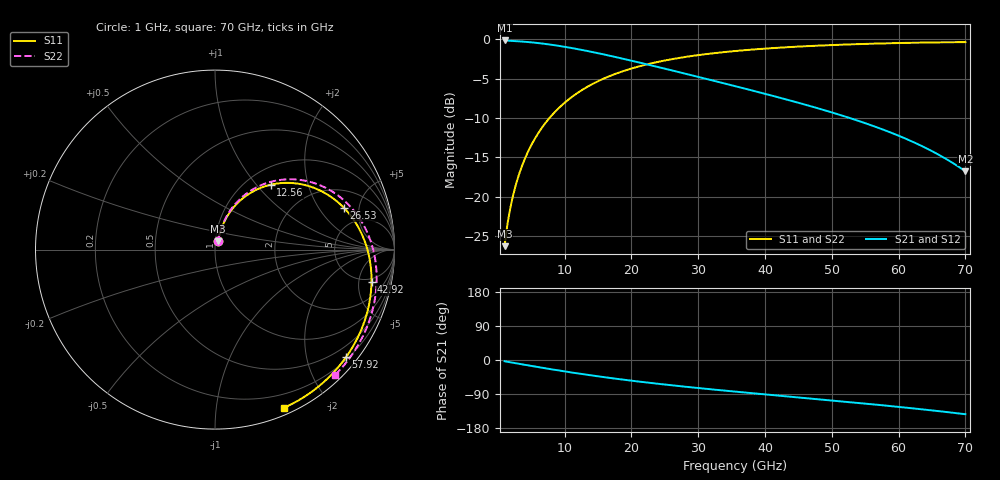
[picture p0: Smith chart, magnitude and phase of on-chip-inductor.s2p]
# GHz S RI R 50.0
! Port[1] = 1
! Port[2] = 2
!freq ReS11 ImS11 ReS21 ImS21 ReS12 ImS12 ReS22 ImS22
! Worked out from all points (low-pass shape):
!   401 points, 1 GHz to 70 GHz, reference 50 ohm
!   highest |S21| = -0.13 dB at 1 GHz (marker M1); lowest = -16.8 dB at 70 GHz (marker M2)
!   |S21| within 3 dB of the highest: start of sweep to 22.13 GHz
!   lowest |S11| = -26.3 dB at 1 GHz (marker M3), VSWR 1.10, Z = 51.4 + j4.72 ohm
!   |S11| at or under -10 dB: start of sweep to 7.701 GHz
!   |S22| runs from -26.3 to -0.3 dB; largest |S21 - S12| = 3.8e-14
!   S11 on the Smith chart (normalised r, x): 1 GHz: 1.03, +0.09; 12.56 GHz: 1.27, +1.19; 26.53 GHz: 3.23, +3.49; 42.92 GHz: 4.17, -7.35; 57.92 GHz: 0.25, -2.77; 70 GHz: 0.07, -1.53
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1  0.0163 0.0458  0.9837 -0.0576  0.9837 -0.0576  0.0161 0.0458
1.8625  0.0247 0.0816  0.9753 -0.1035  0.9753 -0.1035  0.0242 0.0816
2.725  0.0355 0.1157  0.9645 -0.1479  0.9645 -0.1479  0.0344 0.1159
3.76  0.0518 0.1549  0.9481 -0.1995  0.9481 -0.1995  0.0499 0.1554
4.9675  0.0759 0.1978  0.9239 -0.2569  0.9239 -0.2569  0.0727 0.199
6.52  0.114 0.2472  0.8855 -0.3252  0.8855 -0.3252  0.109 0.2495
8.245  0.1642 0.293  0.8347 -0.3924  0.8347 -0.3924  0.1568 0.2972
10.315  0.2319 0.3342  0.7659 -0.4597  0.7659 -0.4597  0.2213 0.3415
12.5575  0.31 0.3614  0.6858 -0.516  0.6858 -0.516  0.296 0.3732
15.145  0.4006 0.3719  0.5917 -0.5608  0.5917 -0.5608  0.3831 0.3903
17.905  0.4927 0.3617  0.4943 -0.5881  0.4943 -0.5881  0.4721 0.3886
24.115  0.6662 0.2794  0.3017 -0.5935  0.3017 -0.5935  0.6432 0.3298
26.53  0.7189 0.2323  0.2387 -0.5815  0.2387 -0.5815  0.6969 0.2929
31.015  0.7948 0.131  0.1386 -0.5468  0.1386 -0.5468  0.7778 0.2118
35.5  0.844 0.0182  0.0582 -0.5019  0.0582 -0.5019  0.8365 0.12
42.9175  0.8719 -0.182  -0.0394 -0.4166  -0.0394 -0.4166  0.8909 -0.045
47.0575  0.8599 -0.2974  -0.0779 -0.3659  -0.0779 -0.3659  0.9005 -0.1416
52.5775  0.8126 -0.4523  -0.1138 -0.2968  -0.1138 -0.2968  0.8912 -0.2739
57.925  0.7299 -0.5996  -0.1326 -0.2293  -0.1326 -0.2293  0.8568 -0.4051
58.615  0.7163 -0.6181  -0.1339 -0.2207  -0.1339 -0.2207  0.8504 -0.4222
64.135  0.5821 -0.7585  -0.1346 -0.1529  -0.1346 -0.1529  0.7812 -0.559
70  0.385 -0.8813  -0.116 -0.0873  -0.116 -0.0873  0.6674 -0.7007
